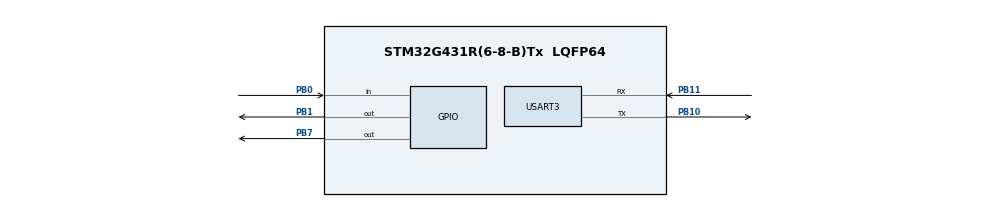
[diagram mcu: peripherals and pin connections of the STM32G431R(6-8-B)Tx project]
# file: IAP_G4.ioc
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Mcu.Family=STM32G4
Mcu.Name=STM32G431R(6-8-B)Tx
Mcu.Package=LQFP64
NVIC.PriorityGroup=NVIC_PRIORITYGROUP_4
NVIC.USART3_IRQn=true\:0\:0\:false\:false\:true\:true\:true
PA13.Mode=Serial_Wire
PA13.Signal=SYS_JTMS-SWDIO
PA14.Mode=Serial_Wire
PA14.Signal=SYS_JTCK-SWCLK
PB0.Signal=GPIO_Input
PB1.Signal=GPIO_Output
PB10.Mode=Asynchronous
PB10.Signal=USART3_TX
PB11.Mode=Asynchronous
PB11.Signal=USART3_RX
PB7.Signal=GPIO_Output
PF0-OSC_IN.Mode=HSE-External-Oscillator
PF0-OSC_IN.Signal=RCC_OSC_IN
PF1-OSC_OUT.Mode=HSE-External-Oscillator
PF1-OSC_OUT.Signal=RCC_OSC_OUT
ProjectManager.HeapSize=0x200
ProjectManager.StackSize=0x400
ProjectManager.TargetToolchain=EWARM V8.32
RCC.ADC12Freq_Value=170000000
RCC.AHBFreq_Value=170000000
RCC.APB1Freq_Value=170000000
RCC.APB1TimFreq_Value=170000000
RCC.APB2Freq_Value=170000000
RCC.APB2TimFreq_Value=170000000
RCC.CortexFreq_Value=170000000
RCC.EXTERNAL_CLOCK_VALUE=12288000
RCC.HCLKFreq_Value=170000000
RCC.HSE_VALUE=8000000
RCC.HSI48_VALUE=48000000
RCC.HSI_VALUE=16000000
RCC.LSE_VALUE=32768
RCC.PLLM=RCC_PLLM_DIV4
RCC.PLLN=85
RCC.SYSCLKFreq_VALUE=170000000
RCC.SYSCLKSource=RCC_SYSCLKSOURCE_PLLCLK
RCC.USBFreq_Value=170000000
RCC.VCOOutputFreq_Value=340000000
USART3.VirtualMode-Asynchronous=VM_ASYNC
VP_IWDG_VS_IWDG.Mode=IWDG_Activate
VP_RTC_VS_RTC_Activate.Mode=RTC_Enabled
VP_SYS_VS_DBSignals.Mode=DisableDeadBatterySignals
board=custom

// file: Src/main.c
/* USER CODE BEGIN Header */
/**
  ******************************************************************************
  * @file           : main.c
  * @brief          : Main program body
  ******************************************************************************
  * @attention
  *
  * <h2><center>&copy; Copyright (c) 2020 STMicroelectronics.
  * All rights reserved.</center></h2>
  *
  * This software component is licensed by ST under BSD 3-Clause license,
  * the "License"; You may not use this file except in compliance with the
  * License. You may obtain a copy of the License at:
  *                        opensource.org/licenses/BSD-3-Clause
  *
  ******************************************************************************
  */
#define BUILDTIME __TIME__
#define BUILDDATE __DATE__
/* USER CODE END Header */

#include "main.h"

/* USER CODE BEGIN Includes */
#include "machine.h"
#include "led.h"
#include "stm32g4xx_hal_flash.h"
/* USER CODE END Includes */

/* USER CODE BEGIN PV */
uint8_t check;
__IO  char test[64];
machine_struct machine;
ledStruct  led;
extern RTC_TypeDef RTC1;

/* USER CODE END PV */

void SystemClock_Config(void);
static void MX_GPIO_Init(void);
static void MX_USART3_UART_Init(void);
static void MX_RTC_Init(void);
static void MX_IWDG_Init(void);
//void AJAJA_WriteXWord(uint32_t AddressDeb,uint8_t Length ,uint64_t * XWord);
void AJAJA_WriteXWord(uint32_t AddressDeb,uint8_t Length ,uint32_t * XWord);
//void sup(void);

/* USER CODE BEGIN 0 */
//#define DEBUG
/* USER CODE END 0 */

//uint32_t URL_LOCATION =0x801F000 ;
char SIM908_SETUP_TAB[SIM908_SETUP_NBR][40];
char SIM908_FTPCONF_TAB[SIM908_FTPCONF_NBR][64];
//#define DEBUG
int main(void)
{
  /* USER CODE BEGIN 1 */
  SCB->VTOR = (uint32_t)0x8000000;
  /* USER CODE END 1 */

  /* MCU Configuration--------------------------------------------------------*/

  /* Reset of all peripherals, Initializes the Flash interface and the Systick. */

  LL_APB2_GRP1_EnableClock(LL_APB2_GRP1_PERIPH_SYSCFG);
  LL_APB1_GRP1_EnableClock(LL_APB1_GRP1_PERIPH_PWR);

  NVIC_SetPriorityGrouping(NVIC_PRIORITYGROUP_4);

  /* System interrupt init*/

  /** Disable the internal Pull-Up in Dead Battery pins of UCPD peripheral
  */
  //LL_PWR_DisableDeadBatteryPD();

  /* Configure the system clock */
  SystemClock_Config();

  /* Initialize all configured peripherals */
  MX_GPIO_Init();
  MX_USART3_UART_Init();
  MX_RTC_Init();
  MX_IWDG_Init();

  /* Infinite loop */
  /* USER CODE BEGIN WHILE */
  SysTick_Config(SystemCoreClock/1000);
  openSim908();
  //sim908_loadFtpConfig(&machine.sim908);
  machineInit(&machine);
  LED_init(&led, 0,  0,GPIOB,LL_GPIO_PIN_7,10,0);
  LED_setDuty(&led,20);
  machineDelay(&machine,2000);

//LL_RTC_BKP_SetRegister(&RTC1,LL_RTC_BKP_DR0,0xbb);
#ifndef DEBUG
   /* if(LL_RTC_BKP_GetRegister(&RTC1,LL_RTC_BKP_DR0)!=0xbb)     // BKP_ReadBackupRegister(BKP_DR9)
  {
    jump(ARD_FLASH_PROG_START);
  }*/
#endif
    //******************* WWDG init **************
#ifndef DEBUG
  LL_IWDG_Enable(IWDG);
  LL_IWDG_EnableWriteAccess(IWDG);
  LL_IWDG_SetPrescaler(IWDG, LL_IWDG_PRESCALER_256);
  LL_IWDG_SetReloadCounter(IWDG,0xFFF);
  LL_IWDG_ReloadCounter(IWDG);
#endif
  //********************************************
  LL_RTC_BKP_SetRegister(&RTC1,LL_RTC_BKP_DR0, 0xAC); //BKP_WriteBackupRegister(BKP_DR9,0xAC)
  //HAL_FLASH_Unlock();//ouvrir flash
 // __HAL_FLASH_CLEAR_FLAG(FLASH_FLAG_EOP|FLASH_FLAG_PROGERR|FLASH_FLAG_WRPERR); //FLASH_FLAG_EOP|FLASH_FLAG_PGERR|FLASH_FLAG_WRPRTERR
  AJAJA_FLASH_Init();
  supp_flash(ARD_FLASH_DATA_START,NBR_PAGE_APP);
  //FLASH_G4_ErasePage(62,1);
 // AJAJA_WriteXWord(0x8002000,1,(uint32_t *)0x8010000);
 // uint64_t marker=0xBBBBBBBBBBBBBBBB;
  //AJAJA_WriteXWord(0x8010000,1,(uint32_t *)&marker);

        //HAL_FLASH_Program(FLASH_TYPEPROGRAM_DOUBLEWORD,flash_i+ARD_FLASH_IAP_START,data_flash->testdata);//FLASH_ProgramWord(flash_i+ARD_FLASH_IAP_START,data_flash->testdata);
      //}
        //uint32_t time=5000;
        //while(time!=0);
  //machine.data_flash.stored=1;
  while (1)
  {   if(!machine.globalTimeOut){
      exitWithError(ARD_FLASH_PROG_START,GLOBALE_TIME);
    }
    /*check=LL_GPIO_IsInputPinSet(GPIOB,LL_GPIO_PIN_0);
    if(!check){
     openSim908(&machine);
     machineInit(&machine);
    }*/
    if(machine.tick100ms){
      LED_Routine(&led);
      machine.tick100ms=0;
    }
     //GPIO_SetBits(GPIOA, GPIO_Pin_8);
     cmd_routine(&machine.sim908.cmd);
     test_routine(&machine.sim908,&machine.data_flash);
    flash_store(&machine.data_flash);

     //**********************wwdog
#ifndef DEBUG
     LL_IWDG_ReloadCounter(IWDG); //  IWDG_ReloadCounter();
#endif
     if(machine.data_flash.stored==1){
       __HAL_FLASH_CLEAR_FLAG(FLASH_FLAG_ALL_ERRORS);
       //sup();
       supp_flash(ARD_FLASH_PROG_START, NBR_PAGE_APP);
       uint32_t flash_i;
       for(flash_i=(NBR_PAGE_IAP*PAGE_SIZE);flash_i < 0x10000 ;flash_i=flash_i+8){//4
          //machine.data_flash.testdata=*(uint32_t*)(flash_i+(ARD_FLASH_DATA_START-ARD_FLASH_IAP_START-(NBR_PAGE_IAP*PAGE_SIZE))+ARD_FLASH_IAP_START);//****  uint32_t
          AJAJA_WriteXWord(flash_i+ARD_FLASH_IAP_START,1,(uint32_t *)(flash_i+(ARD_FLASH_DATA_START-ARD_FLASH_IAP_START-(NBR_PAGE_IAP*PAGE_SIZE))+ARD_FLASH_IAP_START));//machine.data_flash.testdata
       }
        // AJAJA_FLASH_Init();
       //__HAL_FLASH_CLEAR_FLAG(FLASH_FLAG_ALL_ERRORS);
       //sup();
     //uint32_t flash_i;
     /*for(flash_i=(NBR_PAGE_IAP*PAGE_SIZE);flash_i < data_flash->adrCurr ;flash_i=flash_i+8){//4
        data_flash->testdata=*(uint32_t*)(flash_i+(ARD_FLASH_DATA_START-ARD_FLASH_IAP_START-(NBR_PAGE_IAP*PAGE_SIZE))+ARD_FLASH_IAP_START);//****  uint32_t
        AJAJA_WriteXWord(flash_i+ARD_FLASH_IAP_START,1,(uint32_t *)data_flash->testdata);
        //HAL_FLASH_Program(FLASH_TYPEPROGRAM_DOUBLEWORD,flash_i+ARD_FLASH_IAP_START,data_flash->testdata);//FLASH_ProgramWord(flash_i+ARD_FLASH_IAP_START,data_flash->testdata);
      }*/
     exitWithSuccess(ARD_FLASH_PROG_START);
    /* USER CODE END WHILE */

  }
}
}
/* void sup(void)
 {   for(uint8_t i=4;i<28+4;i++){

         FLASH_G4_ErasePage(i,1);//FLASH_ErasePage(adr_debut + i* 0x400);
       }
 }*/
/*void AJAJA_WriteXWord(uint32_t AddressDeb,uint8_t Length ,uint64_t * XWord)
{
   uint8_t NbrWord;
   for(NbrWord=0;NbrWord<Length;NbrWord+=2)
   {
    // FLASH_ProgramWord(AddressDeb,*(XWord+NbrWord));
     HAL_FLASH_Program(FLASH_TYPEPROGRAM_DOUBLEWORD,AddressDeb,*(XWord+NbrWord*4));
      AddressDeb+=8;

   }
}*/
uint64_t tmp=0;;
void AJAJA_WriteXWord(uint32_t AddressDeb,uint8_t Length ,uint32_t * XWord)
{
  //HAL_StatusTypeDef FLASHStatus;
   for(uint8_t i =0;i<Length;i++)
   {
      tmp=((uint64_t)(XWord[i*2+1])<<32)|XWord[i*2];
      //FLASHStatus =
      HAL_FLASH_Program(FLASH_TYPEPROGRAM_DOUBLEWORD,AddressDeb,tmp);
      AddressDeb+=8;
   }
}
void SystemClock_Config(void)
{
  LL_FLASH_SetLatency(LL_FLASH_LATENCY_8);
  LL_PWR_EnableRange1BoostMode();
  LL_RCC_HSI_Enable();

   /* Wait till HSI is ready */
  while(LL_RCC_HSI_IsReady() != 1)
  {

  }
  LL_RCC_HSI_SetCalibTrimming(64);
  LL_RCC_LSI_Enable();

   /* Wait till LSI is ready */
  while(LL_RCC_LSI_IsReady() != 1)
  {

  }
  LL_PWR_EnableBkUpAccess();
  //LL_RCC_ForceBackupDomainReset();
  //LL_RCC_ReleaseBackupDomainReset();
  LL_RCC_PLL_ConfigDomain_SYS(LL_RCC_PLLSOURCE_HSI, LL_RCC_PLLM_DIV_4, 85, LL_RCC_PLLR_DIV_2);
  LL_RCC_PLL_EnableDomain_SYS();
  LL_RCC_PLL_Enable();

   /* Wait till PLL is ready */
  while(LL_RCC_PLL_IsReady() != 1)
  {

  }
  LL_RCC_SetSysClkSource(LL_RCC_SYS_CLKSOURCE_PLL);
  LL_RCC_SetAHBPrescaler(LL_RCC_SYSCLK_DIV_2);

   /* Wait till System clock is ready */
  while(LL_RCC_GetSysClkSource() != LL_RCC_SYS_CLKSOURCE_STATUS_PLL)
  {

  }
  /* Insure 1µs transition state at intermediate medium speed clock based on DWT */
  CoreDebug->DEMCR |= CoreDebug_DEMCR_TRCENA_Msk;
  DWT->CTRL |= DWT_CTRL_CYCCNTENA_Msk;
  DWT->CYCCNT = 0;
  while(DWT->CYCCNT < 100);
  /* Set AHB prescaler*/
  LL_RCC_SetAHBPrescaler(LL_RCC_SYSCLK_DIV_1);
  LL_RCC_SetAPB1Prescaler(LL_RCC_APB1_DIV_1);
  LL_RCC_SetAPB2Prescaler(LL_RCC_APB1_DIV_1);

  LL_Init1msTick(170000000);

  LL_SetSystemCoreClock(170000000);
  LL_RCC_SetRTCClockSource(LL_RCC_RTC_CLKSOURCE_LSI);
  LL_RCC_EnableRTC();
  LL_RCC_SetUSARTClockSource(LL_RCC_USART3_CLKSOURCE_PCLK1);
}

static void MX_IWDG_Init(void)
{

  LL_IWDG_Enable(IWDG);
  LL_IWDG_EnableWriteAccess(IWDG);
  LL_IWDG_SetPrescaler(IWDG, LL_IWDG_PRESCALER_256);//PRESCALER_4
  LL_IWDG_SetWindow(IWDG, 4095);
  LL_IWDG_SetReloadCounter(IWDG, 4095);
  while (LL_IWDG_IsReady(IWDG) != 1)
  {
  }

  LL_IWDG_ReloadCounter(IWDG);

}

static void MX_RTC_Init(void)
{

  LL_RTC_InitTypeDef RTC_InitStruct = {0};

  /* Peripheral clock enable */
  LL_RCC_EnableRTC();

  /** Initialize RTC and set the Time and Date
  */
  RTC_InitStruct.HourFormat = LL_RTC_HOURFORMAT_24HOUR;
  RTC_InitStruct.AsynchPrescaler = 127;
  RTC_InitStruct.SynchPrescaler = 255;
  LL_RTC_Init(RTC, &RTC_InitStruct);

}

static void MX_USART3_UART_Init(void)
{

  LL_USART_InitTypeDef USART_InitStruct = {0};

  LL_GPIO_InitTypeDef GPIO_InitStruct = {0};

  /* Peripheral clock enable */
  LL_APB1_GRP1_EnableClock(LL_APB1_GRP1_PERIPH_USART3);

  LL_AHB2_GRP1_EnableClock(LL_AHB2_GRP1_PERIPH_GPIOB);
  /**USART3 GPIO Configuration
  PB10   ------> USART3_TX
  PB11   ------> USART3_RX
  */
  GPIO_InitStruct.Pin = LL_GPIO_PIN_10;
  GPIO_InitStruct.Mode = LL_GPIO_MODE_ALTERNATE;
  GPIO_InitStruct.Speed = LL_GPIO_SPEED_FREQ_LOW;
  GPIO_InitStruct.OutputType = LL_GPIO_OUTPUT_PUSHPULL;
  GPIO_InitStruct.Pull = LL_GPIO_PULL_NO;
  GPIO_InitStruct.Alternate = LL_GPIO_AF_7;
  LL_GPIO_Init(GPIOB, &GPIO_InitStruct);

  GPIO_InitStruct.Pin = LL_GPIO_PIN_11;
  GPIO_InitStruct.Mode = LL_GPIO_MODE_ALTERNATE;
  GPIO_InitStruct.Speed = LL_GPIO_SPEED_FREQ_LOW;
  GPIO_InitStruct.OutputType = LL_GPIO_OUTPUT_PUSHPULL;
  GPIO_InitStruct.Pull = LL_GPIO_PULL_UP; //PULL_NO
  GPIO_InitStruct.Alternate = LL_GPIO_AF_7;
  LL_GPIO_Init(GPIOB, &GPIO_InitStruct);

  /* USART3 interrupt Init */
  NVIC_SetPriority(USART3_IRQn, NVIC_EncodePriority(NVIC_GetPriorityGrouping(),0, 0));
  NVIC_EnableIRQ(USART3_IRQn);

  USART_InitStruct.PrescalerValue = LL_USART_PRESCALER_DIV1;
  USART_InitStruct.BaudRate = 115200;
  USART_InitStruct.DataWidth = LL_USART_DATAWIDTH_8B;
  USART_InitStruct.StopBits = LL_USART_STOPBITS_1;
  USART_InitStruct.Parity = LL_USART_PARITY_NONE;
  USART_InitStruct.TransferDirection = LL_USART_DIRECTION_TX_RX;
  USART_InitStruct.HardwareFlowControl = LL_USART_HWCONTROL_NONE;
  USART_InitStruct.OverSampling = LL_USART_OVERSAMPLING_16;
  LL_USART_Init(USART3, &USART_InitStruct);
  LL_USART_SetTXFIFOThreshold(USART3, LL_USART_FIFOTHRESHOLD_1_8);
  LL_USART_SetRXFIFOThreshold(USART3, LL_USART_FIFOTHRESHOLD_1_8);
  LL_USART_DisableFIFO(USART3);
  LL_USART_ConfigAsyncMode(USART3);

  LL_USART_Enable(USART3);

  /* Polling USART3 initialisation */
  while((!(LL_USART_IsActiveFlag_TEACK(USART3))) || (!(LL_USART_IsActiveFlag_REACK(USART3))))
  {
  }
  /* USER CODE BEGIN USART3_Init 2 */
  LL_USART_EnableIT_RXNE(USART3);
  /* USER CODE END USART3_Init 2 */

}

static void MX_GPIO_Init(void)
{
  LL_GPIO_InitTypeDef GPIO_InitStruct = {0};

  /* GPIO Ports Clock Enable */
  LL_AHB2_GRP1_EnableClock(LL_AHB2_GRP1_PERIPH_GPIOF);
  LL_AHB2_GRP1_EnableClock(LL_AHB2_GRP1_PERIPH_GPIOB);

  /**/
  LL_GPIO_ResetOutputPin(GPIOB, LL_GPIO_PIN_1);

  /**/
  LL_GPIO_ResetOutputPin(GPIOB, LL_GPIO_PIN_7);

  /**/
  GPIO_InitStruct.Pin = LL_GPIO_PIN_0;
  GPIO_InitStruct.Mode = LL_GPIO_MODE_INPUT;
  GPIO_InitStruct.Pull = LL_GPIO_PULL_NO;
  LL_GPIO_Init(GPIOB, &GPIO_InitStruct);

  /**/
  GPIO_InitStruct.Pin = LL_GPIO_PIN_1;
  GPIO_InitStruct.Mode = LL_GPIO_MODE_OUTPUT;
  GPIO_InitStruct.Speed = LL_GPIO_SPEED_FREQ_LOW;
  GPIO_InitStruct.OutputType = LL_GPIO_OUTPUT_PUSHPULL;
  GPIO_InitStruct.Pull = LL_GPIO_PULL_NO;
  LL_GPIO_Init(GPIOB, &GPIO_InitStruct);

  /**/
  GPIO_InitStruct.Pin = LL_GPIO_PIN_7;
  GPIO_InitStruct.Mode = LL_GPIO_MODE_OUTPUT;
  GPIO_InitStruct.Speed = LL_GPIO_SPEED_FREQ_LOW;
  GPIO_InitStruct.OutputType = LL_GPIO_OUTPUT_PUSHPULL;
  GPIO_InitStruct.Pull = LL_GPIO_PULL_NO;
  LL_GPIO_Init(GPIOB, &GPIO_InitStruct);

}

/* USER CODE BEGIN 4 */
void openSim908(){

      LL_GPIO_ResetOutputPin(GPIOB, LL_GPIO_PIN_1); // GPIO_ResetBits(GPIOB, GPIO_Pin_1);
      machineDelay(&machine,900);
      LL_GPIO_SetOutputPin(GPIOB, LL_GPIO_PIN_1); //GPIO_SetBits(GPIOB, GPIO_Pin_1);
       //machineDelay(&machine,3000);

}
/* USER CODE END 4 */

void Error_Handler(void)
{
}

/************************ (C) COPYRIGHT STMicroelectronics *****END OF FILE****/
